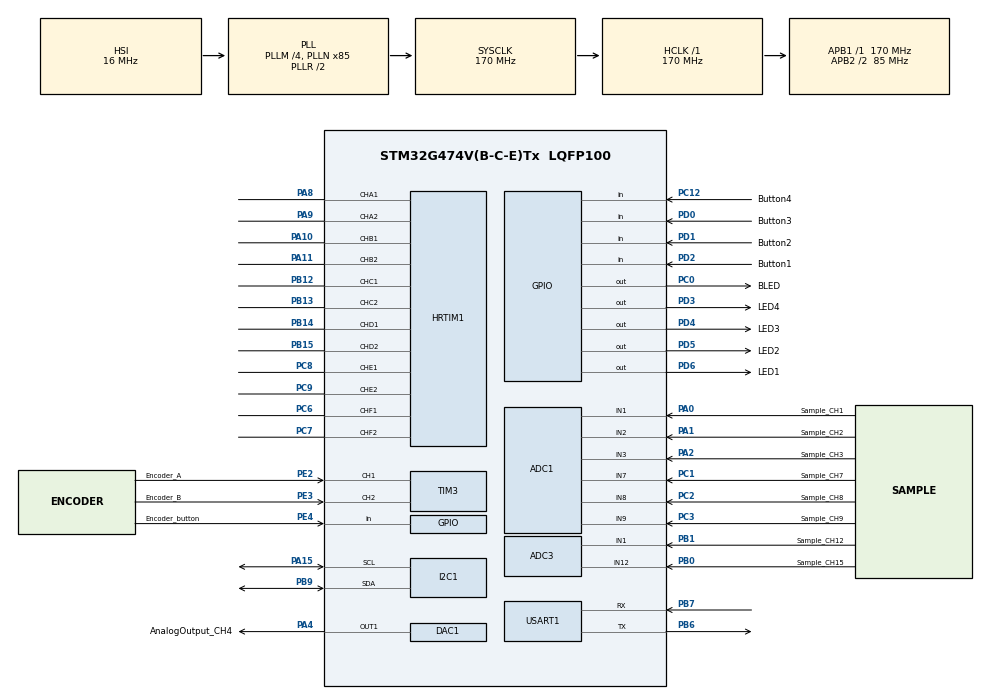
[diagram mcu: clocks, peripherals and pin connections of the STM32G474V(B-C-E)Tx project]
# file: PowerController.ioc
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ADC1.Channel-0\#ChannelRegularConversion=ADC_CHANNEL_1
ADC1.Channel-1\#ChannelRegularConversion=ADC_CHANNEL_2
ADC1.Channel-2\#ChannelRegularConversion=ADC_CHANNEL_3
ADC1.DMAContinuousRequests=ENABLE
ADC1.DiscontinuousConvMode=ENABLE
ADC1.EnableInjectedConversion=ENABLE
ADC1.ExternalTrigConv=ADC_EXTERNALTRIG_HRTIM_TRG1
ADC1.InjNumberOfConversion=1
ADC1.InjectedChannel-9\#ChannelInjectedConversion=ADC_CHANNEL_VREFINT
ADC1.InjectedOffsetNumber-9\#ChannelInjectedConversion=ADC_OFFSET_NONE
ADC1.InjectedRank-9\#ChannelInjectedConversion=1
ADC1.InjectedSamplingTime-9\#ChannelInjectedConversion=ADC_SAMPLETIME_2CYCLES_5
ADC1.NbrOfConversion=3
ADC1.NbrOfConversionFlag=1
ADC1.OffsetNumber-0\#ChannelRegularConversion=ADC_OFFSET_NONE
ADC1.OffsetNumber-1\#ChannelRegularConversion=ADC_OFFSET_NONE
ADC1.OffsetNumber-2\#ChannelRegularConversion=ADC_OFFSET_NONE
ADC1.Overrun=ADC_OVR_DATA_OVERWRITTEN
ADC1.Rank-0\#ChannelRegularConversion=1
ADC1.Rank-1\#ChannelRegularConversion=2
ADC1.Rank-2\#ChannelRegularConversion=3
ADC1.SamplingTime-0\#ChannelRegularConversion=ADC_SAMPLETIME_12CYCLES_5
ADC1.SamplingTime-1\#ChannelRegularConversion=ADC_SAMPLETIME_12CYCLES_5
ADC1.SamplingTime-2\#ChannelRegularConversion=ADC_SAMPLETIME_12CYCLES_5
ADC1.master=1
ADC2.Channel-1\#ChannelRegularConversion=ADC_CHANNEL_7
ADC2.Channel-2\#ChannelRegularConversion=ADC_CHANNEL_8
ADC2.Channel-3\#ChannelRegularConversion=ADC_CHANNEL_9
ADC2.DMAContinuousRequests=ENABLE
ADC2.DiscontinuousConvMode=ENABLE
ADC2.ExternalTrigConv=ADC_EXTERNALTRIG_HRTIM_TRG1
ADC2.NbrOfConversion=3
ADC2.NbrOfConversionFlag=1
ADC2.OffsetNumber-1\#ChannelRegularConversion=ADC_OFFSET_NONE
ADC2.OffsetNumber-2\#ChannelRegularConversion=ADC_OFFSET_NONE
ADC2.OffsetNumber-3\#ChannelRegularConversion=ADC_OFFSET_NONE
ADC2.Overrun=ADC_OVR_DATA_OVERWRITTEN
ADC2.Rank-1\#ChannelRegularConversion=1
ADC2.Rank-2\#ChannelRegularConversion=2
ADC2.Rank-3\#ChannelRegularConversion=3
ADC2.SamplingTime-1\#ChannelRegularConversion=ADC_SAMPLETIME_12CYCLES_5
ADC2.SamplingTime-2\#ChannelRegularConversion=ADC_SAMPLETIME_12CYCLES_5
ADC2.SamplingTime-3\#ChannelRegularConversion=ADC_SAMPLETIME_12CYCLES_5
ADC3.Channel-0\#ChannelRegularConversion=ADC_CHANNEL_1
ADC3.Channel-1\#ChannelRegularConversion=ADC_CHANNEL_12
ADC3.DMAContinuousRequests=ENABLE
ADC3.DiscontinuousConvMode=ENABLE
ADC3.ExternalTrigConv=ADC_EXTERNALTRIG_HRTIM_TRG1
ADC3.NbrOfConversion=2
ADC3.NbrOfConversionFlag=1
ADC3.OffsetNumber-0\#ChannelRegularConversion=ADC_OFFSET_NONE
ADC3.OffsetNumber-1\#ChannelRegularConversion=ADC_OFFSET_NONE
ADC3.Overrun=ADC_OVR_DATA_OVERWRITTEN
ADC3.Rank-0\#ChannelRegularConversion=1
ADC3.Rank-1\#ChannelRegularConversion=2
ADC3.SamplingTime-0\#ChannelRegularConversion=ADC_SAMPLETIME_12CYCLES_5
ADC3.SamplingTime-1\#ChannelRegularConversion=ADC_SAMPLETIME_12CYCLES_5
ADC3.ScanConvMode-ADC_Settings=ADC_SCAN_DISABLE
ADC3.master=1
DAC1.DAC_Trigger_OUT1-DAC_OUT1=DAC_TRIGGER_NONE
Dma.ADC1.1.Direction=DMA_PERIPH_TO_MEMORY
Dma.ADC1.1.EventEnable=DISABLE
Dma.ADC1.1.Instance=DMA1_Channel2
Dma.ADC1.1.MemDataAlignment=DMA_MDATAALIGN_HALFWORD
Dma.ADC1.1.MemInc=DMA_MINC_ENABLE
Dma.ADC1.1.Mode=DMA_CIRCULAR
Dma.ADC1.1.PeriphDataAlignment=DMA_PDATAALIGN_HALFWORD
Dma.ADC1.1.PeriphInc=DMA_PINC_DISABLE
Dma.ADC1.1.Polarity=HAL_DMAMUX_REQ_GEN_RISING
Dma.ADC1.1.Priority=DMA_PRIORITY_LOW
Dma.ADC1.1.RequestNumber=1
Dma.ADC1.1.SignalID=NONE
Dma.ADC1.1.SyncEnable=DISABLE
Dma.ADC1.1.SyncPolarity=HAL_DMAMUX_SYNC_NO_EVENT
Dma.ADC1.1.SyncRequestNumber=1
Dma.ADC1.1.SyncSignalID=NONE
Dma.ADC2.2.Direction=DMA_PERIPH_TO_MEMORY
Dma.ADC2.2.EventEnable=DISABLE
Dma.ADC2.2.Instance=DMA1_Channel3
Dma.ADC2.2.MemDataAlignment=DMA_MDATAALIGN_HALFWORD
Dma.ADC2.2.MemInc=DMA_MINC_ENABLE
Dma.ADC2.2.Mode=DMA_CIRCULAR
Dma.ADC2.2.PeriphDataAlignment=DMA_PDATAALIGN_HALFWORD
Dma.ADC2.2.PeriphInc=DMA_PINC_DISABLE
Dma.ADC2.2.Polarity=HAL_DMAMUX_REQ_GEN_RISING
Dma.ADC2.2.Priority=DMA_PRIORITY_LOW
Dma.ADC2.2.RequestNumber=1
Dma.ADC2.2.SignalID=NONE
Dma.ADC2.2.SyncEnable=DISABLE
Dma.ADC2.2.SyncPolarity=HAL_DMAMUX_SYNC_NO_EVENT
Dma.ADC2.2.SyncRequestNumber=1
Dma.ADC2.2.SyncSignalID=NONE
Dma.ADC3.3.Direction=DMA_PERIPH_TO_MEMORY
Dma.ADC3.3.EventEnable=DISABLE
Dma.ADC3.3.Instance=DMA1_Channel4
Dma.ADC3.3.MemDataAlignment=DMA_MDATAALIGN_HALFWORD
Dma.ADC3.3.MemInc=DMA_MINC_ENABLE
Dma.ADC3.3.Mode=DMA_CIRCULAR
Dma.ADC3.3.PeriphDataAlignment=DMA_PDATAALIGN_HALFWORD
Dma.ADC3.3.PeriphInc=DMA_PINC_DISABLE
Dma.ADC3.3.Polarity=HAL_DMAMUX_REQ_GEN_RISING
Dma.ADC3.3.Priority=DMA_PRIORITY_LOW
Dma.ADC3.3.RequestNumber=1
Dma.ADC3.3.SignalID=NONE
Dma.ADC3.3.SyncEnable=DISABLE
Dma.ADC3.3.SyncPolarity=HAL_DMAMUX_SYNC_NO_EVENT
Dma.ADC3.3.SyncRequestNumber=1
Dma.ADC3.3.SyncSignalID=NONE
Dma.I2C1_TX.0.Direction=DMA_MEMORY_TO_PERIPH
Dma.I2C1_TX.0.EventEnable=DISABLE
Dma.I2C1_TX.0.Instance=DMA1_Channel1
Dma.I2C1_TX.0.MemDataAlignment=DMA_MDATAALIGN_BYTE
Dma.I2C1_TX.0.MemInc=DMA_MINC_ENABLE
Dma.I2C1_TX.0.Mode=DMA_NORMAL
Dma.I2C1_TX.0.PeriphDataAlignment=DMA_PDATAALIGN_BYTE
Dma.I2C1_TX.0.PeriphInc=DMA_PINC_DISABLE
Dma.I2C1_TX.0.Polarity=HAL_DMAMUX_REQ_GEN_RISING
Dma.I2C1_TX.0.Priority=DMA_PRIORITY_LOW
Dma.I2C1_TX.0.RequestNumber=1
Dma.I2C1_TX.0.SignalID=NONE
Dma.I2C1_TX.0.SyncEnable=DISABLE
Dma.I2C1_TX.0.SyncPolarity=HAL_DMAMUX_SYNC_NO_EVENT
Dma.I2C1_TX.0.SyncRequestNumber=1
Dma.I2C1_TX.0.SyncSignalID=NONE
Dma.Request0=I2C1_TX
Dma.Request1=ADC1
Dma.Request2=ADC2
Dma.Request3=ADC3
HRTIM1.ADCTrigger1_Source1=HRTIM_ADCTRIGGEREVENT13_MASTER_PERIOD
HRTIM1.ADCTrigger2_Source1=HRTIM_ADCTRIGGEREVENT24_MASTER_PERIOD
HRTIM1.ADCTrigger_Id1=HRTIM_ADCTRIGGER_1
HRTIM1.ADCTrigger_Id2=HRTIM_ADCTRIGGER_2
HRTIM1.CompareUnit1-Output_TA1TA2=HRTIM_COMPAREUNIT_1
HRTIM1.CompareUnit1-Output_TB1TB2=HRTIM_COMPAREUNIT_1
HRTIM1.CompareUnit1-Output_TC1TC2=HRTIM_COMPAREUNIT_1
HRTIM1.CompareUnit1-Output_TD1TD2=HRTIM_COMPAREUNIT_1
HRTIM1.CompareUnit1-Output_TE1TE2=HRTIM_COMPAREUNIT_1
HRTIM1.CompareUnit1-Output_TF1TF2=HRTIM_COMPAREUNIT_1
HRTIM1.CompareValue1-Output_TA1TA2=13600
HRTIM1.DeadTimeInsertion-Output_TA1TA2=HRTIM_TIMDEADTIMEINSERTION_ENABLED
HRTIM1.DeadTimeInsertion-Output_TB1TB2=HRTIM_TIMDEADTIMEINSERTION_DISABLED
HRTIM1.DeadTimeInsertion-Output_TC1TC2=HRTIM_TIMDEADTIMEINSERTION_DISABLED
HRTIM1.DeadTimeInsertion-Output_TD1TD2=HRTIM_TIMDEADTIMEINSERTION_DISABLED
HRTIM1.DeadTimeInsertion-Output_TE1TE2=HRTIM_TIMDEADTIMEINSERTION_DISABLED
HRTIM1.DeadTimeInsertion-Output_TF1TF2=HRTIM_TIMDEADTIMEINSERTION_DISABLED
HRTIM1.Deadtimeconfig-Output_TA1TA2=HRTIM_TIMERINDEX_TIMER_A
HRTIM1.FallingValue-Output_TA1TA2=10
HRTIM1.InterruptRequests1_Master=HRTIM_MASTER_IT_MREP
HRTIM1.NumberADCTriggerSource1=1
HRTIM1.NumberADCTriggerSource2=1
HRTIM1.NumberInterruptRequests_Master-MasterTimer=1
HRTIM1.NumberResetSource1-Output_TA1TA2=1
HRTIM1.NumberResetSource1-Output_TB1TB2=1
HRTIM1.NumberResetSource1-Output_TC1TC2=1
HRTIM1.NumberResetSource1-Output_TD1TD2=1
HRTIM1.NumberResetSource1-Output_TE1TE2=1
HRTIM1.NumberResetSource1-Output_TF1TF2=1
HRTIM1.NumberResetSource2_TA=0
HRTIM1.NumberResetTrigger-Output_TA1TA2=1
HRTIM1.NumberSetSource1-Output_TA1TA2=0
HRTIM1.NumberSetSource1-Output_TB1TB2=1
HRTIM1.NumberSetSource1-Output_TC1TC2=1
HRTIM1.NumberSetSource1-Output_TD1TD2=1
HRTIM1.NumberSetSource1-Output_TE1TE2=1
HRTIM1.NumberSetSource1-Output_TF1TF2=1
HRTIM1.NumberUpdateTrigger-Output_TA1TA2=0
HRTIM1.ORingUpdateSource_ADCTrigger2=HRTIM_ADCTRIGGERUPDATE_MASTER
HRTIM1.Periode_MASTER=27200
HRTIM1.Periode_TA=27200
HRTIM1.Periode_TB=27200
HRTIM1.Periode_TC=27200
HRTIM1.Periode_TD=27200
HRTIM1.Periode_TE=27200
HRTIM1.Periode_TF=27200
HRTIM1.PreloadEnable-MasterTimer=HRTIM_PRELOAD_ENABLED
HRTIM1.PreloadEnable-Output_TA1TA2=HRTIM_PRELOAD_ENABLED
HRTIM1.PrescalerRatio_MASTER=HRTIM_PRESCALERRATIO_MUL8
HRTIM1.PrescalerRatio_TA=HRTIM_PRESCALERRATIO_MUL32
HRTIM1.PrescalerRatio_TB=HRTIM_PRESCALERRATIO_MUL16
HRTIM1.PrescalerRatio_TC=HRTIM_PRESCALERRATIO_MUL16
HRTIM1.PrescalerRatio_TD=HRTIM_PRESCALERRATIO_MUL16
HRTIM1.PrescalerRatio_TE=HRTIM_PRESCALERRATIO_MUL16
HRTIM1.PrescalerRatio_TF=HRTIM_PRESCALERRATIO_MUL16
HRTIM1.RepetitionCounter-Output_TA1TA2=0
HRTIM1.RepetitionUpdate-MasterTimer=HRTIM_UPDATEONREPETITION_ENABLED
HRTIM1.RepetitionUpdate-Output_TA1TA2=HRTIM_UPDATEONREPETITION_ENABLED
HRTIM1.ResetOutput1_Source1-Output_TA1TA2=HRTIM_OUTPUTRESET_TIMCMP1
HRTIM1.ResetOutput1_Source1-Output_TB1TB2=HRTIM_OUTPUTRESET_TIMCMP1
HRTIM1.ResetOutput1_Source1-Output_TC1TC2=HRTIM_OUTPUTRESET_TIMCMP1
HRTIM1.ResetOutput1_Source1-Output_TD1TD2=HRTIM_OUTPUTRESET_TIMCMP1
HRTIM1.ResetOutput1_Source1-Output_TE1TE2=HRTIM_OUTPUTRESET_TIMCMP1
HRTIM1.ResetOutput1_Source1-Output_TF1TF2=HRTIM_OUTPUTRESET_TIMCMP1
HRTIM1.ResetTrigger1-Output_TA1TA2=HRTIM_TIMRESETTRIGGER_MASTER_PER
HRTIM1.RisingValue-Output_TA1TA2=10
HRTIM1.SetOutput1_Source1-Output_TB1TB2=HRTIM_OUTPUTSET_TIMPER
HRTIM1.SetOutput1_Source1-Output_TC1TC2=HRTIM_OUTPUTSET_TIMPER
HRTIM1.SetOutput1_Source1-Output_TD1TD2=HRTIM_OUTPUTSET_TIMPER
HRTIM1.SetOutput1_Source1-Output_TE1TE2=HRTIM_OUTPUTSET_TIMPER
HRTIM1.SetOutput1_Source1-Output_TF1TF2=HRTIM_OUTPUTSET_TIMPER
HRTIM1.UpDownMode-Output_TA1TA2=HRTIM_TIMERUPDOWNMODE_UPDOWN
I2C1.Timing=0x40B285C2
Mcu.Family=STM32G4
Mcu.Name=STM32G474V(B-C-E)Tx
Mcu.Package=LQFP100
NVIC.DMA1_Channel1_IRQn=true\:7\:0\:true\:false\:true\:false\:true\:true
NVIC.DMA1_Channel2_IRQn=true\:0\:0\:false\:false\:true\:false\:true\:true
NVIC.DMA1_Channel3_IRQn=true\:0\:0\:false\:false\:true\:false\:true\:true
NVIC.DMA1_Channel4_IRQn=true\:0\:0\:false\:false\:true\:false\:true\:true
NVIC.HRTIM1_Master_IRQn=true\:0\:0\:false\:false\:true\:true\:true\:true
NVIC.I2C1_ER_IRQn=true\:7\:0\:true\:false\:true\:true\:true\:true
NVIC.I2C1_EV_IRQn=true\:7\:0\:true\:false\:true\:true\:true\:true
NVIC.PriorityGroup=NVIC_PRIORITYGROUP_4
NVIC.TIM6_DAC_IRQn=true\:3\:0\:true\:false\:true\:true\:true\:true
PA0.GPIO_Label=Sample_CH1
PA0.Mode=IN1-Single-Ended
PA0.Signal=ADC1_IN1
PA1.GPIO_Label=Sample_CH2
PA1.Mode=IN2-Single-Ended
PA1.Signal=ADC1_IN2
PA10.Mode=Output_TB1TB2
PA10.Signal=HRTIM1_CHB1
PA11.Mode=Output_TB1TB2
PA11.Signal=HRTIM1_CHB2
PA13.Mode=Serial_Wire
PA13.Signal=SYS_JTMS-SWDIO
PA14.Mode=Serial_Wire
PA14.Signal=SYS_JTCK-SWCLK
PA15.Mode=I2C
PA15.Signal=I2C1_SCL
PA2.GPIO_Label=Sample_CH3
PA2.Mode=IN3-Single-Ended
PA2.Signal=ADC1_IN3
PA4.GPIO_Label=AnalogOutput_CH4
PA4.Signal=COMP_DAC11_group
PA8.Mode=Output_TA1TA2
PA8.Signal=HRTIM1_CHA1
PA9.Mode=Output_TA1TA2
PA9.Signal=HRTIM1_CHA2
PB0.GPIO_Label=Sample_CH15
PB0.Signal=SharedAnalog_PB0
PB1.GPIO_Label=Sample_CH12
PB1.Signal=SharedAnalog_PB1
PB12.Mode=Output_TC1TC2
PB12.Signal=HRTIM1_CHC1
PB13.Mode=Output_TC1TC2
PB13.Signal=HRTIM1_CHC2
PB14.Mode=Output_TD1TD2
PB14.Signal=HRTIM1_CHD1
PB15.Mode=Output_TD1TD2
PB15.Signal=HRTIM1_CHD2
PB6.Mode=Asynchronous
PB6.Signal=USART1_TX
PB7.Mode=Asynchronous
PB7.Signal=USART1_RX
PB9.Mode=I2C
PB9.Signal=I2C1_SDA
PC0.GPIO_Label=BLED
PC0.Signal=GPIO_Output
PC1.GPIO_Label=Sample_CH7
PC1.Signal=SharedAnalog_PC1
PC12.GPIO_Label=Button4
PC12.Signal=GPIO_Input
PC14-OSC32_IN.Mode=LSE-External-Oscillator
PC14-OSC32_IN.Signal=RCC_OSC32_IN
PC15-OSC32_OUT.Mode=LSE-External-Oscillator
PC15-OSC32_OUT.Signal=RCC_OSC32_OUT
PC2.GPIO_Label=Sample_CH8
PC2.Signal=SharedAnalog_PC2
PC3.GPIO_Label=Sample_CH9
PC3.Signal=SharedAnalog_PC3
PC6.Mode=Output_TF1TF2
PC6.Signal=HRTIM1_CHF1
PC7.Mode=Output_TF1TF2
PC7.Signal=HRTIM1_CHF2
PC8.Mode=Output_TE1TE2
PC8.Signal=HRTIM1_CHE1
PC9.Mode=Output_TE1TE2
PC9.Signal=HRTIM1_CHE2
PD0.GPIO_Label=Button3
PD0.Signal=GPIO_Input
PD1.GPIO_Label=Button2
PD1.Signal=GPIO_Input
PD2.GPIO_Label=Button1
PD2.Signal=GPIO_Input
PD3.GPIO_Label=LED4
PD3.GPIO_PuPd=GPIO_PULLUP
PD3.Signal=GPIO_Output
PD4.GPIO_Label=LED3
PD4.GPIO_PuPd=GPIO_PULLUP
PD4.Signal=GPIO_Output
PD5.GPIO_Label=LED2
PD5.GPIO_PuPd=GPIO_PULLUP
PD5.Signal=GPIO_Output
PD6.GPIO_Label=LED1
PD6.GPIO_PuPd=GPIO_PULLUP
PD6.Signal=GPIO_Output
PE2.GPIO_Label=Encoder_A
PE2.Signal=S_TIM3_CH1
PE3.GPIO_Label=Encoder_B
PE3.Signal=S_TIM3_CH2
PE4.GPIO_Label=Encoder_button
PE4.Signal=GPIO_Input
PF0-OSC_IN.Mode=HSE-External-Oscillator
PF0-OSC_IN.Signal=RCC_OSC_IN
PF1-OSC_OUT.Mode=HSE-External-Oscillator
PF1-OSC_OUT.Signal=RCC_OSC_OUT
ProjectManager.HeapSize=0x200
ProjectManager.StackSize=0x400
ProjectManager.TargetToolchain=CMake
RCC.ADC12Freq_Value=170000000
RCC.ADC345Freq_Value=170000000
RCC.AHBFreq_Value=170000000
RCC.APB1Freq_Value=170000000
RCC.APB1TimFreq_Value=170000000
RCC.APB2CLKDivider=RCC_HCLK_DIV2
RCC.APB2Freq_Value=85000000
RCC.APB2TimFreq_Value=170000000
RCC.CortexFreq_Value=170000000
RCC.EXTERNAL_CLOCK_VALUE=12288000
RCC.HCLKFreq_Value=170000000
RCC.HSE_VALUE=8000000
RCC.HSI48_VALUE=48000000
RCC.HSI_VALUE=16000000
RCC.PLLM=RCC_PLLM_DIV4
RCC.PLLN=85
RCC.SYSCLKFreq_VALUE=170000000
RCC.SYSCLKSource=RCC_SYSCLKSOURCE_PLLCLK
RCC.USBFreq_Value=170000000
RCC.VCOOutputFreq_Value=340000000
SH.COMP_DAC11_group.0=DAC1_OUT1,DAC_OUT1
SH.S_TIM3_CH1.0=TIM3_CH1,Encoder_Interface
SH.S_TIM3_CH2.0=TIM3_CH2,Encoder_Interface
SH.SharedAnalog_PB0.0=ADC1_IN15
SH.SharedAnalog_PB0.1=ADC3_IN12,IN12-Single-Ended
SH.SharedAnalog_PB1.0=ADC1_IN12
SH.SharedAnalog_PB1.1=ADC3_IN1,IN1-Single-Ended
SH.SharedAnalog_PC1.0=ADC1_IN7,IN7-Single-Ended
SH.SharedAnalog_PC1.1=ADC2_IN7,IN7-Single-Ended
SH.SharedAnalog_PC2.0=ADC1_IN8,IN8-Single-Ended
SH.SharedAnalog_PC2.1=ADC2_IN8,IN8-Single-Ended
SH.SharedAnalog_PC3.0=ADC1_IN9,IN9-Single-Ended
SH.SharedAnalog_PC3.1=ADC2_IN9,IN9-Single-Ended
SYS.VoltageScaling=SYSCFG_VREFBUF_VOLTAGE_SCALE2
TIM3.EncoderMode=TIM_ENCODERMODE_TI12
TIM3.IC1Polarity=TIM_ICPOLARITY_RISING
TIM3.IC2Polarity=TIM_ICPOLARITY_RISING
TIM3.IC2Prescaler=TIM_ICPSC_DIV1
TIM6.AutoReloadPreload=TIM_AUTORELOAD_PRELOAD_DISABLE
TIM6.PeriodNoDither=1000 -1
TIM6.Prescaler=170 -1
USART1.VirtualMode-Asynchronous=VM_ASYNC
VP_ADC1_Vref_Input.Mode=IN-Vrefint
VP_HRTIM1_VS_hrtimMasterTimerNoOutput.Mode=MasterTimer
VP_SYS_VS_DBSignals.Mode=DisableDeadBatterySignals
VP_TIM6_VS_ClockSourceINT.Mode=Enable_Timer
VREF+.Mode=InternalMode
VREF+.Signal=VREFBUF_OUT
board=custom

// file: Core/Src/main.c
/* USER CODE BEGIN Header */
/**
  ******************************************************************************
  * @file           : main.c
  * @brief          : Main program body
  ******************************************************************************
  * @attention
  *
  * Copyright (c) 2026 STMicroelectronics.
  * All rights reserved.
  *
  * This software is licensed under terms that can be found in the LICENSE file
  * in the root directory of this software component.
  * If no LICENSE file comes with this software, it is provided AS-IS.
  *
  ******************************************************************************
  */
/* USER CODE END Header */
#include "main.h"
#include "adc.h"
#include "dac.h"
#include "dma.h"
#include "hrtim.h"
#include "i2c.h"
#include "tim.h"
#include "usart.h"
#include "gpio.h"

/* USER CODE BEGIN Includes */
#include "encoder.h"
#include "oledgfx.h"
#include "buttonAndLED.h"
#include "scheduler.h"
#include "PWM.h"
#include "analogOutput.h"

/* USER CODE END Includes */

/* USER CODE BEGIN PD */

#define ANALOG_OUTPUT_TEST_INITIAL_VOLTAGE (1.4f)
#define ANALOG_OUTPUT_TEST_STEP_VOLTAGE (0.1f)
#define ANALOG_OUTPUT_TEST_MIN_VOLTAGE (0.0f)
#define ANALOG_OUTPUT_TEST_MAX_VOLTAGE (AnalogOutput_VoltageReference)

/* USER CODE END PD */

/* USER CODE BEGIN PV */

static uint8_t s_oledInitOk = 0U;
static float s_analogOutputVoltage = ANALOG_OUTPUT_TEST_INITIAL_VOLTAGE;

/* USER CODE END PV */

void SystemClock_Config(void);
/* USER CODE BEGIN PFP */

static void AnalogOutputTest_DrawFrame(void);
static void AnalogOutputTest_SetVoltage(float voltage);

/* USER CODE END PFP */

/* USER CODE BEGIN 0 */

static void AnalogOutputTest_DrawFrame(void)
{
  (void)OLEDGFX_Clear();

  OLEDGFX_ShowString(OLEDGFX_COL_1, OLEDGFX_LINE_1, "DAC OUT1 PA4", OLEDGFX_Clip);
  OLEDGFX_ShowString(OLEDGFX_COL_1, OLEDGFX_LINE_2, "OUT", OLEDGFX_Clip);
  OLEDGFX_ShowFloat(OLEDGFX_COL_5, OLEDGFX_LINE_2, s_analogOutputVoltage, 1U, 2U);
  OLEDGFX_ShowString(OLEDGFX_COL_10, OLEDGFX_LINE_2, "V", OLEDGFX_Clip);
  OLEDGFX_ShowString(OLEDGFX_COL_1, OLEDGFX_LINE_3, "B1 -0.1V", OLEDGFX_Clip);
  OLEDGFX_ShowString(OLEDGFX_COL_1, OLEDGFX_LINE_4, "B2 +0.1V", OLEDGFX_Clip);

  (void)OLEDGFX_Submit();
}

static void AnalogOutputTest_SetVoltage(float voltage)
{
  if (voltage < ANALOG_OUTPUT_TEST_MIN_VOLTAGE) {
    voltage = ANALOG_OUTPUT_TEST_MIN_VOLTAGE;
  } else if (voltage > ANALOG_OUTPUT_TEST_MAX_VOLTAGE) {
    voltage = ANALOG_OUTPUT_TEST_MAX_VOLTAGE;
  }

  s_analogOutputVoltage = voltage;
  AnalogOutput_SetVoltage(s_analogOutputVoltage);
}

/* USER CODE END 0 */

int main(void)
{

  /* MCU Configuration--------------------------------------------------------*/

  /* Reset of all peripherals, Initializes the Flash interface and the Systick. */
  HAL_Init();

  /* Configure the system clock */
  SystemClock_Config();

  /* Initialize all configured peripherals */
  MX_GPIO_Init();
  MX_DMA_Init();
  MX_ADC1_Init();
  MX_HRTIM1_Init();
  MX_I2C1_Init();
  MX_TIM3_Init();
  MX_USART1_UART_Init();
  MX_TIM6_Init();
  MX_ADC2_Init();
  MX_ADC3_Init();
  MX_DAC1_Init();
  /* USER CODE BEGIN 2 */

  AnalogOutput_Init();
  AnalogOutputTest_SetVoltage(ANALOG_OUTPUT_TEST_INITIAL_VOLTAGE);

  Encoder_Init();
  Encoder_Clear();

  Scheduler_Init();

  LED_SetLED1State(0U);
  LED_SetLED2State(0U);
  LED_SetLED3State(0U);
  LED_SetLED4State(0U);

  (void)PWM_MasterStart();

  if (OLEDGFX_Init() == OLEDGFX_OK)
  {
    s_oledInitOk = 1U;
    AnalogOutputTest_DrawFrame();
  }

  /* USER CODE END 2 */

  /* Infinite loop */
  /* USER CODE BEGIN WHILE */
  while (1)
  {
    static uint32_t lastBlinkTick = 0U;
    uint32_t now;

    now = HAL_GetTick();

    if ((now - lastBlinkTick) >= 500U)
    {
      lastBlinkTick = now;
      HAL_GPIO_TogglePin(GPIOC, GPIO_PIN_0);
    }

    if (Scheduler_OLEDUpdateState == Scheduler_Pending)
    {
      Scheduler_ClearOLEDUpdatePending();
      if (s_oledInitOk != 0U)
      {
        AnalogOutputTest_DrawFrame();
      }
    }

    if (Scheduler_Button1State == Scheduler_Pending)
    {
      Scheduler_ClearButton1Pending();
      AnalogOutputTest_SetVoltage(s_analogOutputVoltage - ANALOG_OUTPUT_TEST_STEP_VOLTAGE);
      if (s_oledInitOk != 0U)
      {
        AnalogOutputTest_DrawFrame();
      }
    }

    if (Scheduler_Button2State == Scheduler_Pending)
    {
      Scheduler_ClearButton2Pending();
      AnalogOutputTest_SetVoltage(s_analogOutputVoltage + ANALOG_OUTPUT_TEST_STEP_VOLTAGE);
      if (s_oledInitOk != 0U)
      {
        AnalogOutputTest_DrawFrame();
      }
    }

    if (Scheduler_Button3State == Scheduler_Pending)
    {
      Scheduler_ClearButton3Pending();
    }

    if (Scheduler_Button4State == Scheduler_Pending)
    {
      Scheduler_ClearButton4Pending();
    }

    /* USER CODE END WHILE */

  }
}

void SystemClock_Config(void)
{
  RCC_OscInitTypeDef RCC_OscInitStruct = {0};
  RCC_ClkInitTypeDef RCC_ClkInitStruct = {0};

  /** Configure the main internal regulator output voltage
  */
  HAL_PWREx_ControlVoltageScaling(PWR_REGULATOR_VOLTAGE_SCALE1_BOOST);

  /** Initializes the RCC Oscillators according to the specified parameters
  * in the RCC_OscInitTypeDef structure.
  */
  RCC_OscInitStruct.OscillatorType = RCC_OSCILLATORTYPE_HSI;
  RCC_OscInitStruct.HSIState = RCC_HSI_ON;
  RCC_OscInitStruct.HSICalibrationValue = RCC_HSICALIBRATION_DEFAULT;
  RCC_OscInitStruct.PLL.PLLState = RCC_PLL_ON;
  RCC_OscInitStruct.PLL.PLLSource = RCC_PLLSOURCE_HSI;
  RCC_OscInitStruct.PLL.PLLM = RCC_PLLM_DIV4;
  RCC_OscInitStruct.PLL.PLLN = 85;
  RCC_OscInitStruct.PLL.PLLP = RCC_PLLP_DIV2;
  RCC_OscInitStruct.PLL.PLLQ = RCC_PLLQ_DIV2;
  RCC_OscInitStruct.PLL.PLLR = RCC_PLLR_DIV2;
  if (HAL_RCC_OscConfig(&RCC_OscInitStruct) != HAL_OK)
  {
    Error_Handler();
  }

  /** Initializes the CPU, AHB and APB buses clocks
  */
  RCC_ClkInitStruct.ClockType = RCC_CLOCKTYPE_HCLK|RCC_CLOCKTYPE_SYSCLK
                              |RCC_CLOCKTYPE_PCLK1|RCC_CLOCKTYPE_PCLK2;
  RCC_ClkInitStruct.SYSCLKSource = RCC_SYSCLKSOURCE_PLLCLK;
  RCC_ClkInitStruct.AHBCLKDivider = RCC_SYSCLK_DIV1;
  RCC_ClkInitStruct.APB1CLKDivider = RCC_HCLK_DIV1;
  RCC_ClkInitStruct.APB2CLKDivider = RCC_HCLK_DIV2;

  if (HAL_RCC_ClockConfig(&RCC_ClkInitStruct, FLASH_LATENCY_4) != HAL_OK)
  {
    Error_Handler();
  }
}

void Error_Handler(void)
{
  __disable_irq();
  while (1)
  {
  }
}
